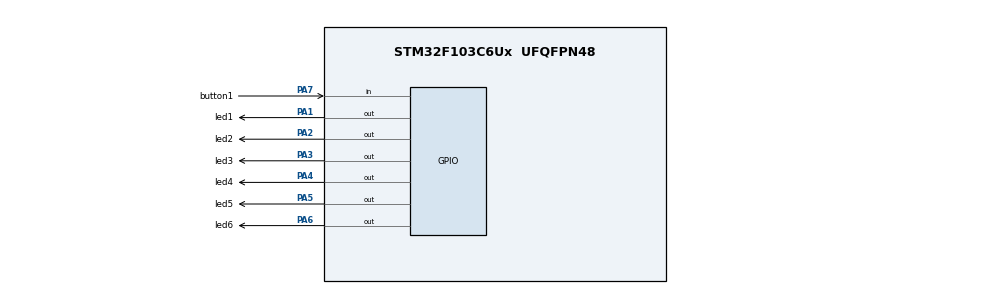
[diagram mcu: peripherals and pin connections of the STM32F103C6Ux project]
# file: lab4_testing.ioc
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Mcu.Family=STM32F1
Mcu.Name=STM32F103C6Ux
Mcu.Package=UFQFPN48
NVIC.PriorityGroup=NVIC_PRIORITYGROUP_4
NVIC.TIM2_IRQn=true\:0\:0\:false\:false\:true\:true\:true
PA1.GPIO_Label=led1
PA1.Signal=GPIO_Output
PA2.GPIO_Label=led2
PA2.Signal=GPIO_Output
PA3.GPIO_Label=led3
PA3.Signal=GPIO_Output
PA4.GPIO_Label=led4
PA4.Signal=GPIO_Output
PA5.GPIO_Label=led5
PA5.Signal=GPIO_Output
PA6.GPIO_Label=led6
PA6.Signal=GPIO_Output
PA7.GPIO_Label=button1
PA7.GPIO_PuPd=GPIO_PULLUP
PA7.Signal=GPIO_Input
ProjectManager.HeapSize=0x200
ProjectManager.StackSize=0x400
ProjectManager.TargetToolchain=STM32CubeIDE
RCC.APB1Freq_Value=8000000
RCC.APB2Freq_Value=8000000
TIM2.Period=9
TIM2.Prescaler=7999
VP_SYS_VS_ND.Mode=No_Debug
VP_TIM2_VS_ClockSourceINT.Mode=Internal
board=custom

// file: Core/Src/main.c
/* USER CODE BEGIN Header */
/**
  ******************************************************************************
  * @file           : main.c
  * @brief          : Main program body
  ******************************************************************************
  * @attention
  *
  * <h2><center>&copy; Copyright (c) 2023 STMicroelectronics.
  * All rights reserved.</center></h2>
  *
  * This software component is licensed by ST under BSD 3-Clause license,
  * the "License"; You may not use this file except in compliance with the
  * License. You may obtain a copy of the License at:
  *                        opensource.org/licenses/BSD-3-Clause
  *
  ******************************************************************************
  */
/* USER CODE END Header */
#include "main.h"
#include "scheduler.h"
#include "button.h"

TIM_HandleTypeDef htim2;

void SystemClock_Config(void);
static void MX_GPIO_Init(void);
static void MX_TIM2_Init(void);

/* USER CODE BEGIN 0 */

void led1test(){
	HAL_GPIO_TogglePin(GPIOA, led1_Pin);
}
void led2test(){
	HAL_GPIO_TogglePin(GPIOA, led2_Pin);
}
void led3test(){
	HAL_GPIO_TogglePin(GPIOA, led3_Pin);
}
void led4test(){
	HAL_GPIO_TogglePin(GPIOA, led4_Pin);
}
void ledOneShottest(){
	HAL_GPIO_TogglePin(GPIOA, led5_Pin);
}
void buttonTest(){
	buttonRead();
	if(buttonPressed(0)){
		HAL_GPIO_TogglePin(GPIOA, led6_Pin);
	}
}
/* USER CODE END 0 */

int main(void)
{

  /* MCU Configuration--------------------------------------------------------*/

  /* Reset of all peripherals, Initializes the Flash interface and the Systick. */
  HAL_Init();

  /* Configure the system clock */
  SystemClock_Config();

  /* Initialize all configured peripherals */
  MX_GPIO_Init();
  MX_TIM2_Init();
  /* USER CODE BEGIN 2 */
  HAL_TIM_Base_Start_IT(&htim2);
  /* USER CODE END 2 */

  /* Infinite loop */
  /* USER CODE BEGIN WHILE */
  SCH_Init();
  initButton();
  // add task
  /*The first to fourth led is for blinky led with diff freq
   * the fifth led is one-shot task
   * the sixth led is controlled by button*/
SCH_Add_Task(led1test, 100, 50, 0);
SCH_Add_Task(led2test, 500, 100, 0);
SCH_Add_Task(led3test, 1000, 150, 0);
SCH_Add_Task(led4test, 1500, 200, 0);
SCH_Add_Task(ledOneShottest, 2000, 0, 0);
SCH_Add_Task(buttonTest, 0, 2, 0);
  while (1)
  {
	  SCH_Dispatch_Tasks();
    /* USER CODE END WHILE */

  }
}

void SystemClock_Config(void)
{
  RCC_OscInitTypeDef RCC_OscInitStruct = {0};
  RCC_ClkInitTypeDef RCC_ClkInitStruct = {0};

  /** Initializes the RCC Oscillators according to the specified parameters
  * in the RCC_OscInitTypeDef structure.
  */
  RCC_OscInitStruct.OscillatorType = RCC_OSCILLATORTYPE_HSI;
  RCC_OscInitStruct.HSIState = RCC_HSI_ON;
  RCC_OscInitStruct.HSICalibrationValue = RCC_HSICALIBRATION_DEFAULT;
  RCC_OscInitStruct.PLL.PLLState = RCC_PLL_NONE;
  if (HAL_RCC_OscConfig(&RCC_OscInitStruct) != HAL_OK)
  {
    Error_Handler();
  }
  /** Initializes the CPU, AHB and APB buses clocks
  */
  RCC_ClkInitStruct.ClockType = RCC_CLOCKTYPE_HCLK|RCC_CLOCKTYPE_SYSCLK
                              |RCC_CLOCKTYPE_PCLK1|RCC_CLOCKTYPE_PCLK2;
  RCC_ClkInitStruct.SYSCLKSource = RCC_SYSCLKSOURCE_HSI;
  RCC_ClkInitStruct.AHBCLKDivider = RCC_SYSCLK_DIV1;
  RCC_ClkInitStruct.APB1CLKDivider = RCC_HCLK_DIV1;
  RCC_ClkInitStruct.APB2CLKDivider = RCC_HCLK_DIV1;

  if (HAL_RCC_ClockConfig(&RCC_ClkInitStruct, FLASH_LATENCY_0) != HAL_OK)
  {
    Error_Handler();
  }
}

static void MX_TIM2_Init(void)
{

  TIM_ClockConfigTypeDef sClockSourceConfig = {0};
  TIM_MasterConfigTypeDef sMasterConfig = {0};

  htim2.Instance = TIM2;
  htim2.Init.Prescaler = 7999;
  htim2.Init.CounterMode = TIM_COUNTERMODE_UP;
  htim2.Init.Period = 9;
  htim2.Init.ClockDivision = TIM_CLOCKDIVISION_DIV1;
  htim2.Init.AutoReloadPreload = TIM_AUTORELOAD_PRELOAD_DISABLE;
  if (HAL_TIM_Base_Init(&htim2) != HAL_OK)
  {
    Error_Handler();
  }
  sClockSourceConfig.ClockSource = TIM_CLOCKSOURCE_INTERNAL;
  if (HAL_TIM_ConfigClockSource(&htim2, &sClockSourceConfig) != HAL_OK)
  {
    Error_Handler();
  }
  sMasterConfig.MasterOutputTrigger = TIM_TRGO_RESET;
  sMasterConfig.MasterSlaveMode = TIM_MASTERSLAVEMODE_DISABLE;
  if (HAL_TIMEx_MasterConfigSynchronization(&htim2, &sMasterConfig) != HAL_OK)
  {
    Error_Handler();
  }

}

static void MX_GPIO_Init(void)
{
  GPIO_InitTypeDef GPIO_InitStruct = {0};

  /* GPIO Ports Clock Enable */
  __HAL_RCC_GPIOA_CLK_ENABLE();

  /*Configure GPIO pin Output Level */
  HAL_GPIO_WritePin(GPIOA, led1_Pin|led2_Pin|led3_Pin|led4_Pin
                          |led5_Pin|led6_Pin, GPIO_PIN_RESET);

  /*Configure GPIO pins : led1_Pin led2_Pin led3_Pin led4_Pin
                           led5_Pin led6_Pin */
  GPIO_InitStruct.Pin = led1_Pin|led2_Pin|led3_Pin|led4_Pin
                          |led5_Pin|led6_Pin;
  GPIO_InitStruct.Mode = GPIO_MODE_OUTPUT_PP;
  GPIO_InitStruct.Pull = GPIO_NOPULL;
  GPIO_InitStruct.Speed = GPIO_SPEED_FREQ_LOW;
  HAL_GPIO_Init(GPIOA, &GPIO_InitStruct);

  /*Configure GPIO pin : button1_Pin */
  GPIO_InitStruct.Pin = button1_Pin;
  GPIO_InitStruct.Mode = GPIO_MODE_INPUT;
  GPIO_InitStruct.Pull = GPIO_PULLUP;
  HAL_GPIO_Init(button1_GPIO_Port, &GPIO_InitStruct);

}

void Error_Handler(void)
{
  __disable_irq();
  while (1)
  {
  }
}

/************************ (C) COPYRIGHT STMicroelectronics *****END OF FILE****/
